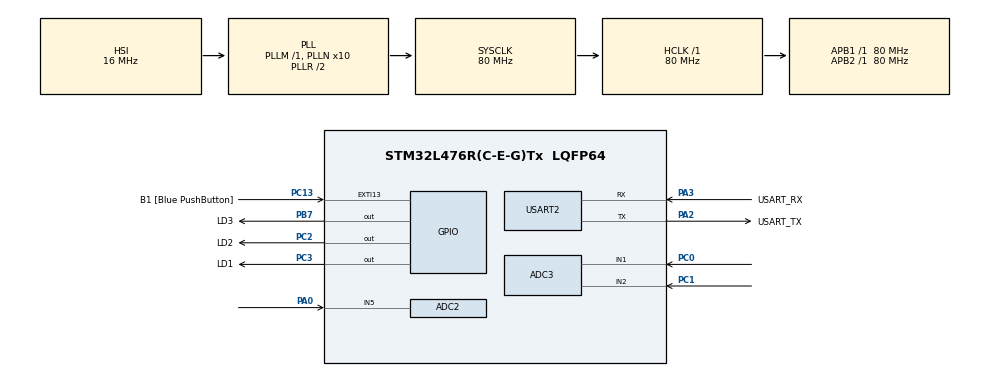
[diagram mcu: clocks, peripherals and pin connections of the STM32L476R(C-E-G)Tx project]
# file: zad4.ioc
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ADC2.Channel-2\#ChannelRegularConversion=ADC_CHANNEL_5
ADC2.NbrOfConversionFlag=1
ADC2.OffsetNumber-2\#ChannelRegularConversion=ADC_OFFSET_NONE
ADC2.Rank-2\#ChannelRegularConversion=1
ADC2.SamplingTime-2\#ChannelRegularConversion=ADC_SAMPLETIME_2CYCLES_5
ADC3.Channel-1\#ChannelRegularConversion=ADC_CHANNEL_1
ADC3.NbrOfConversionFlag=1
ADC3.OffsetNumber-1\#ChannelRegularConversion=ADC_OFFSET_NONE
ADC3.Rank-1\#ChannelRegularConversion=1
ADC3.SamplingTime-1\#ChannelRegularConversion=ADC_SAMPLETIME_2CYCLES_5
Mcu.Family=STM32L4
Mcu.Name=STM32L476R(C-E-G)Tx
Mcu.Package=LQFP64
NVIC.EXTI15_10_IRQn=true\:6\:0\:true\:false\:true\:true\:true\:true
NVIC.PriorityGroup=NVIC_PRIORITYGROUP_4
PA0.Signal=ADCx_IN5
PA13\ (JTMS-SWDIO).GPIO_Label=TMS
PA13\ (JTMS-SWDIO).Mode=Serial_Wire
PA13\ (JTMS-SWDIO).Signal=SYS_JTMS-SWDIO
PA14\ (JTCK-SWCLK).GPIO_Label=TCK
PA14\ (JTCK-SWCLK).Mode=Serial_Wire
PA14\ (JTCK-SWCLK).Signal=SYS_JTCK-SWCLK
PA2.GPIO_Label=USART_TX
PA2.GPIO_Mode=GPIO_MODE_AF_PP
PA2.GPIO_PuPd=GPIO_NOPULL
PA2.GPIO_Speed=GPIO_SPEED_FREQ_VERY_HIGH
PA2.Mode=Asynchronous
PA2.Signal=USART2_TX
PA3.GPIO_Label=USART_RX
PA3.GPIO_Mode=GPIO_MODE_AF_PP
PA3.GPIO_PuPd=GPIO_NOPULL
PA3.GPIO_Speed=GPIO_SPEED_FREQ_VERY_HIGH
PA3.Mode=Asynchronous
PA3.Signal=USART2_RX
PB3\ (JTDO-TRACESWO).GPIO_Label=SWO
PB3\ (JTDO-TRACESWO).Signal=SYS_JTDO-SWO
PB7.GPIO_Label=LD3
PB7.Signal=GPIO_Output
PC0.Signal=ADCx_IN1
PC1.Signal=ADCx_IN2
PC13.GPIO_Label=B1 [Blue PushButton]
PC13.GPIO_ModeDefaultEXTI=GPIO_MODE_IT_FALLING
PC13.GPIO_PuPd=GPIO_NOPULL
PC13.Signal=GPXTI13
PC14-OSC32_IN\ (PC14).Mode=LSE-External-Oscillator
PC14-OSC32_IN\ (PC14).Signal=RCC_OSC32_IN
PC15-OSC32_OUT\ (PC15).Mode=LSE-External-Oscillator
PC15-OSC32_OUT\ (PC15).Signal=RCC_OSC32_OUT
PC2.GPIO_Label=LD2
PC2.Signal=GPIO_Output
PC3.GPIO_Label=LD1
PC3.Signal=GPIO_Output
PH0-OSC_IN\ (PH0).Signal=RCC_OSC_IN
PH1-OSC_OUT\ (PH1).Signal=RCC_OSC_OUT
ProjectManager.HeapSize=0x200
ProjectManager.StackSize=0x400
ProjectManager.TargetToolchain=STM32CubeIDE
RCC.ADCFreq_Value=64000000
RCC.AHBFreq_Value=80000000
RCC.APB1Freq_Value=80000000
RCC.APB1TimFreq_Value=80000000
RCC.APB2Freq_Value=80000000
RCC.APB2TimFreq_Value=80000000
RCC.CortexFreq_Value=80000000
RCC.HCLKFreq_Value=80000000
RCC.HSE_VALUE=8000000
RCC.HSI_VALUE=16000000
RCC.MSI_VALUE=4000000
RCC.PLLN=10
RCC.PLLSourceVirtual=RCC_PLLSOURCE_HSI
RCC.PREFETCH_ENABLE=1
RCC.SYSCLKFreq_VALUE=80000000
RCC.SYSCLKSource=RCC_SYSCLKSOURCE_PLLCLK
RCC.USBFreq_Value=64000000
RCC.VCOOutputFreq_Value=160000000
SH.ADCx_IN1.0=ADC3_IN1,IN1-Single-Ended
SH.ADCx_IN2.0=ADC3_IN2,IN2-Single-Ended
SH.ADCx_IN5.0=ADC2_IN5,IN5-Single-Ended
USART2.VirtualMode-Asynchronous=VM_ASYNC
board=NUCLEO-L476RG

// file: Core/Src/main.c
/* USER CODE BEGIN Header */
/**
  ******************************************************************************
  * @file           : main.c
  * @brief          : Main program body
  ******************************************************************************
  * @attention
  *
  * Copyright (c) 2025 STMicroelectronics.
  * All rights reserved.
  *
  * This software is licensed under terms that can be found in the LICENSE file
  * in the root directory of this software component.
  * If no LICENSE file comes with this software, it is provided AS-IS.
  *
  ******************************************************************************
  */
/* USER CODE END Header */
#include "main.h"
#include "adc.h"
#include "usart.h"
#include "gpio.h"

/* USER CODE BEGIN Includes */
#include <stdio.h>
/* USER CODE END Includes */

/* USER CODE BEGIN PV */
uint32_t adc_raw[2] = {0,0};
volatile uint32_t adc_mv[2] = {0,0};
/* USER CODE END PV */

void SystemClock_Config(void);
void PeriphCommonClock_Config(void);

/* USER CODE BEGIN 0 */
void ADC3_Read_Multi(void)
{
    ADC_ChannelConfTypeDef sConfig = {0};

    sConfig.Channel = ADC_CHANNEL_1;
    sConfig.Rank = ADC_REGULAR_RANK_1;
    sConfig.SamplingTime = ADC_SAMPLETIME_12CYCLES_5;
    HAL_ADC_ConfigChannel(&hadc3, &sConfig);

    HAL_ADC_Start(&hadc3);
    HAL_ADC_PollForConversion(&hadc3, HAL_MAX_DELAY);
    adc_raw[0] = HAL_ADC_GetValue(&hadc3);
    HAL_ADC_Stop(&hadc3);

    sConfig.Channel = ADC_CHANNEL_2;
    sConfig.Rank = ADC_REGULAR_RANK_2;
    HAL_ADC_ConfigChannel(&hadc3, &sConfig);

    HAL_ADC_Start(&hadc3);
    HAL_ADC_PollForConversion(&hadc3, HAL_MAX_DELAY);
    adc_raw[1] = HAL_ADC_GetValue(&hadc3);
    HAL_ADC_Stop(&hadc3);

    adc_mv[0] = (adc_raw[0] * 3300) / 4095;
    adc_mv[1] = (adc_raw[1] * 3300) / 4095;
}

uint32_t ADC3_Read(void)
{
    HAL_ADC_Start(&hadc3);                                     // Start ADC
    HAL_ADC_PollForConversion(&hadc3, HAL_MAX_DELAY);          // Wait
    uint32_t value = HAL_ADC_GetValue(&hadc3);                 // Read
    HAL_ADC_Stop(&hadc3);                                      // Stop
    return value;
}

uint32_t ADC_To_mV(uint32_t adc_value)
{
    return (adc_value * 3300) / 4095;
}

void LED_Line_Update(uint32_t voltage_mv)
{
    HAL_GPIO_WritePin(LD1_GPIO_Port, LD1_Pin, GPIO_PIN_RESET);
    HAL_GPIO_WritePin(LD2_GPIO_Port, LD2_Pin, GPIO_PIN_RESET);
    HAL_GPIO_WritePin(LD3_GPIO_Port, LD3_Pin, GPIO_PIN_RESET);

    if (voltage_mv > 3000)
            HAL_GPIO_WritePin(LD3_GPIO_Port, LD3_Pin, GPIO_PIN_SET);

    if (voltage_mv >= 2000)
           HAL_GPIO_WritePin(LD2_GPIO_Port, LD2_Pin, GPIO_PIN_SET);

    if (voltage_mv >= 1000)
        HAL_GPIO_WritePin(LD1_GPIO_Port, LD1_Pin, GPIO_PIN_SET);
}

void ADC_Send_UART(uint32_t adc_value_mv)
{
    char buffer[50];
    int len = snprintf(buffer, sizeof(buffer), "ADC value: %lu mV\r\n", adc_value_mv);
    HAL_UART_Transmit(&huart2, (uint8_t*)buffer, len, HAL_MAX_DELAY);
}

void HAL_GPIO_EXTI_Callback(uint16_t GPIO_Pin)
{
    if(GPIO_Pin == B1_Pin)
    {
        ADC3_Read_Multi();
        char buffer[100];
        int len = snprintf(buffer, sizeof(buffer),
                           "ADC1: %lu mV, ADC2: %lu mV\r\n",
                           adc_mv[0], adc_mv[1]);
        HAL_UART_Transmit(&huart2, (uint8_t*)buffer, len, HAL_MAX_DELAY);
    }
}

/* USER CODE END 0 */

int main(void)
{

  /* MCU Configuration--------------------------------------------------------*/

  /* Reset of all peripherals, Initializes the Flash interface and the Systick. */
  HAL_Init();

  /* Configure the system clock */
  SystemClock_Config();

  /* Configure the peripherals common clocks */
  PeriphCommonClock_Config();

  /* Initialize all configured peripherals */
  MX_GPIO_Init();
  MX_USART2_UART_Init();
  MX_ADC3_Init();
  MX_ADC2_Init();

  /* Infinite loop */
  /* USER CODE BEGIN WHILE */
  while (1)
  {
	ADC3_Read_Multi();
	LED_Line_Update(adc_mv[0]);
	HAL_Delay(50);
    /* USER CODE END WHILE */

  }
}

void SystemClock_Config(void)
{
  RCC_OscInitTypeDef RCC_OscInitStruct = {0};
  RCC_ClkInitTypeDef RCC_ClkInitStruct = {0};

  /** Configure the main internal regulator output voltage
  */
  if (HAL_PWREx_ControlVoltageScaling(PWR_REGULATOR_VOLTAGE_SCALE1) != HAL_OK)
  {
    Error_Handler();
  }

  /** Initializes the RCC Oscillators according to the specified parameters
  * in the RCC_OscInitTypeDef structure.
  */
  RCC_OscInitStruct.OscillatorType = RCC_OSCILLATORTYPE_HSI;
  RCC_OscInitStruct.HSIState = RCC_HSI_ON;
  RCC_OscInitStruct.HSICalibrationValue = RCC_HSICALIBRATION_DEFAULT;
  RCC_OscInitStruct.PLL.PLLState = RCC_PLL_ON;
  RCC_OscInitStruct.PLL.PLLSource = RCC_PLLSOURCE_HSI;
  RCC_OscInitStruct.PLL.PLLM = 1;
  RCC_OscInitStruct.PLL.PLLN = 10;
  RCC_OscInitStruct.PLL.PLLP = RCC_PLLP_DIV7;
  RCC_OscInitStruct.PLL.PLLQ = RCC_PLLQ_DIV2;
  RCC_OscInitStruct.PLL.PLLR = RCC_PLLR_DIV2;
  if (HAL_RCC_OscConfig(&RCC_OscInitStruct) != HAL_OK)
  {
    Error_Handler();
  }

  /** Initializes the CPU, AHB and APB buses clocks
  */
  RCC_ClkInitStruct.ClockType = RCC_CLOCKTYPE_HCLK|RCC_CLOCKTYPE_SYSCLK
                              |RCC_CLOCKTYPE_PCLK1|RCC_CLOCKTYPE_PCLK2;
  RCC_ClkInitStruct.SYSCLKSource = RCC_SYSCLKSOURCE_PLLCLK;
  RCC_ClkInitStruct.AHBCLKDivider = RCC_SYSCLK_DIV1;
  RCC_ClkInitStruct.APB1CLKDivider = RCC_HCLK_DIV1;
  RCC_ClkInitStruct.APB2CLKDivider = RCC_HCLK_DIV1;

  if (HAL_RCC_ClockConfig(&RCC_ClkInitStruct, FLASH_LATENCY_4) != HAL_OK)
  {
    Error_Handler();
  }
}

void PeriphCommonClock_Config(void)
{
  RCC_PeriphCLKInitTypeDef PeriphClkInit = {0};

  /** Initializes the peripherals clock
  */
  PeriphClkInit.PeriphClockSelection = RCC_PERIPHCLK_ADC;
  PeriphClkInit.AdcClockSelection = RCC_ADCCLKSOURCE_PLLSAI1;
  PeriphClkInit.PLLSAI1.PLLSAI1Source = RCC_PLLSOURCE_HSI;
  PeriphClkInit.PLLSAI1.PLLSAI1M = 1;
  PeriphClkInit.PLLSAI1.PLLSAI1N = 8;
  PeriphClkInit.PLLSAI1.PLLSAI1P = RCC_PLLP_DIV7;
  PeriphClkInit.PLLSAI1.PLLSAI1Q = RCC_PLLQ_DIV2;
  PeriphClkInit.PLLSAI1.PLLSAI1R = RCC_PLLR_DIV2;
  PeriphClkInit.PLLSAI1.PLLSAI1ClockOut = RCC_PLLSAI1_ADC1CLK;
  if (HAL_RCCEx_PeriphCLKConfig(&PeriphClkInit) != HAL_OK)
  {
    Error_Handler();
  }
}

void Error_Handler(void)
{
  __disable_irq();
  while (1)
  {
  }
}
